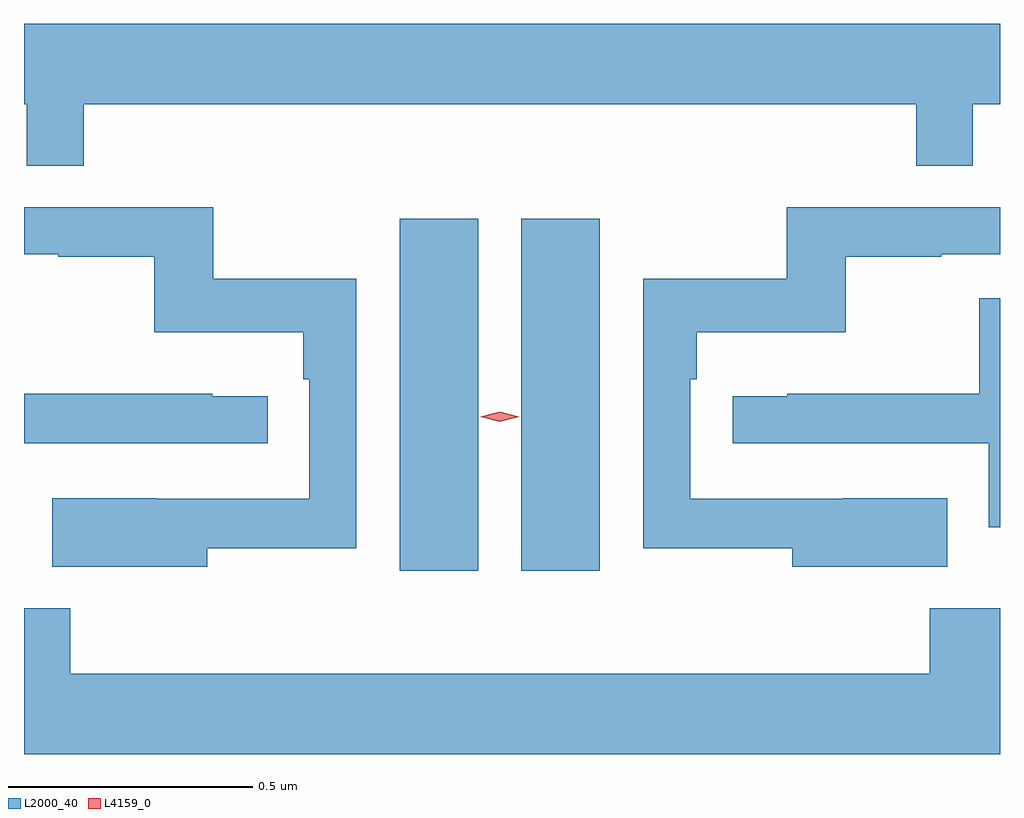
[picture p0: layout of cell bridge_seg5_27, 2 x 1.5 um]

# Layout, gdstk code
import gdstk
lib = gdstk.Library(unit=1e-6, precision=1e-09)
def R(c, l, rs):  # rectangles x0, y0, x1, y1
    for r in rs: c.add(gdstk.rectangle(r[:2], r[2:], *l))
def P(c, l, *ps):  # polygons
    for p in ps: c.add(gdstk.Polygon(p, *l))
L2000_40 = (2000, 40)
L4159_0 = (4159, 0)

bridge_seg5_27 = lib.new_cell('bridge_seg5_27')
R(bridge_seg5_27, L2000_40, [(950.321,865.128,950.482,865.849), (950.57,865.128,950.731,865.849)])
P(bridge_seg5_27, L2000_40, [(949.673,866.084),(951.379,866.084),(951.379,865.957),(951.495,865.957),(951.495,866.084),(951.551,866.084),(951.551,866.248),(949.551,866.248),(949.551,866.084),(949.557,866.084),(949.557,865.957),(949.673,865.957)],
  [(951.443,865.276),(951.229,865.276),(951.229,865.275),(950.916,865.275),(950.916,865.52),(950.93,865.52),(950.93,865.616),(951.235,865.616),(951.235,865.771),(951.431,865.771),(951.431,865.776),(951.551,865.776),(951.551,865.872),(951.114,865.872),(951.114,865.726),(950.82,865.726),(950.82,865.174),(951.125,865.174),(951.125,865.136),(951.443,865.136)],
  [(949.927,865.174),(950.232,865.174),(950.232,865.726),(949.939,865.726),(949.939,865.872),(949.551,865.872),(949.551,865.776),(949.621,865.776),(949.621,865.771),(949.818,865.771),(949.818,865.616),(950.123,865.616),(950.123,865.52),(950.136,865.52),(950.136,865.275),(949.823,865.275),(949.823,865.276),(949.609,865.276),(949.609,865.136),(949.927,865.136)],
  [(951.551,865.686),(951.508,865.686),(951.508,865.49),(951.115,865.49),(951.115,865.485),(951.003,865.485),(951.003,865.389),(951.528,865.389),(951.528,865.217),(951.551,865.217)],
  [(950.05,865.485),(949.937,865.485),(949.937,865.49),(949.551,865.49),(949.551,865.389),(950.05,865.389)],
  [(951.551,865.051),(951.407,865.051),(951.407,864.916),(949.646,864.916),(949.646,865.051),(949.551,865.051),(949.551,864.752),(951.551,864.752)])
P(bridge_seg5_27, L4159_0, [(950.526,865.433),(950.486,865.443),(950.486,865.443),(950.486,865.443),(950.526,865.453),(950.566,865.443),(950.566,865.443),(950.566,865.443)])

lib.write_gds('bridge_seg5_27.gds')
